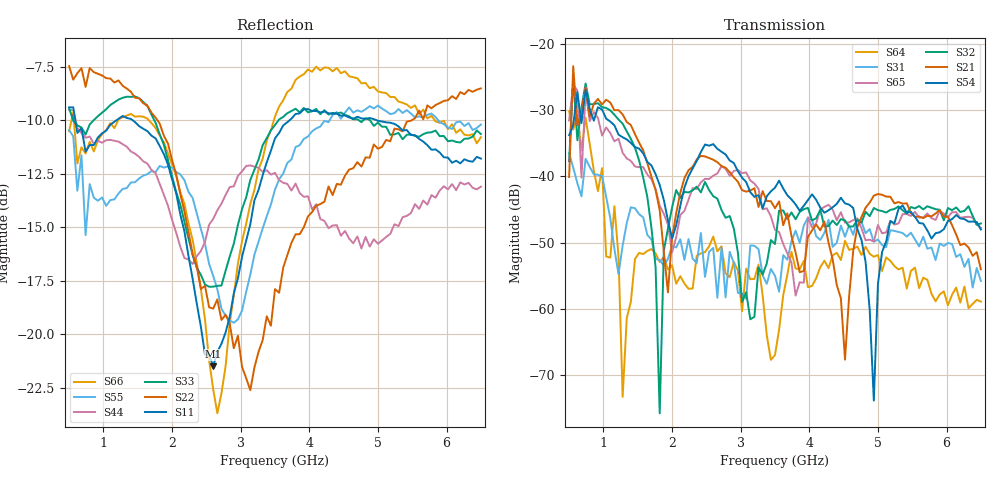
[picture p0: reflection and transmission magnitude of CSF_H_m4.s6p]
!Keysight Technologies,M9804A,MY58100912,A.14.10.03
!Date: Thursday, April 27, 2023 10:28:33
!Correction: S11(C  6-Port  )
!S12(C  6-Port  )
!S13(C  6-Port  )
!S14(C  6-Port  )
!S15(C  6-Port  )
!S16(C  6-Port  )
!S21(C  6-Port  )
!S22(C  6-Port  )
!S23(C  6-Port  )
!S24(C  6-Port  )
!S25(C  6-Port  )
!S26(C  6-Port  )
!S31(C  6-Port  )
!S32(C  6-Port  )
!S33(C  6-Port  )
!S34(C  6-Port  )
!S35(C  6-Port  )
!S36(C  6-Port  )
!S41(C  6-Port  )
!S42(C  6-Port  )
!S43(C  6-Port  )
!S44(C  6-Port  )
!S45(C  6-Port  )
!S46(C  6-Port  )
!S51(C  6-Port  )
!S52(C  6-Port  )
!S53(C  6-Port  )
!S54(C  6-Port  )
!S55(C  6-Port  )
!S56(C  6-Port  )
!S61(C  6-Port  )
!S62(C  6-Port  )
!S63(C  6-Port  )
!S64(C  6-Port  )
!S65(C  6-Port  )
!S66(C  6-Port  )
!S6P File: Measurement: :
# Hz S  RI  R 50
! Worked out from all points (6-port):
!   101 points, 500 MHz to 6.5 GHz, reference 50 ohm
!   strongest paths, dB at 500 MHz, 2 GHz, 3.5 GHz, 5 GHz, 6.5 GHz:
!     S54: -33.8, -49.4, -41.7, -56.3, -48.0
!     S21: -40.1, -49.3, -44.8, -42.7, -54.0
!     S32: -37.7, -44.7, -50.2, -45.1, -47.1
!     S65: -31.6, -51.5, -48.1, -47.4, -47.8
!     S31: -36.5, -50.5, -55.0, -49.5, -55.8
!     S64: -30.2, -53.4, -67.0, -51.9, -58.9
!   lowest |S11| = -21.5 dB at 2.6 GHz (marker M1), VSWR 1.18, Z = 42.5 + j2.19 ohm
!   |S11| at or under -10 dB: 590 MHz to 1.194 GHz (604 MHz wide, 67.7 % of centre); 1.423 GHz to 3.715 GHz (2.292 GHz wide, 89.2 % of centre); 4.975 GHz to end of sweep
